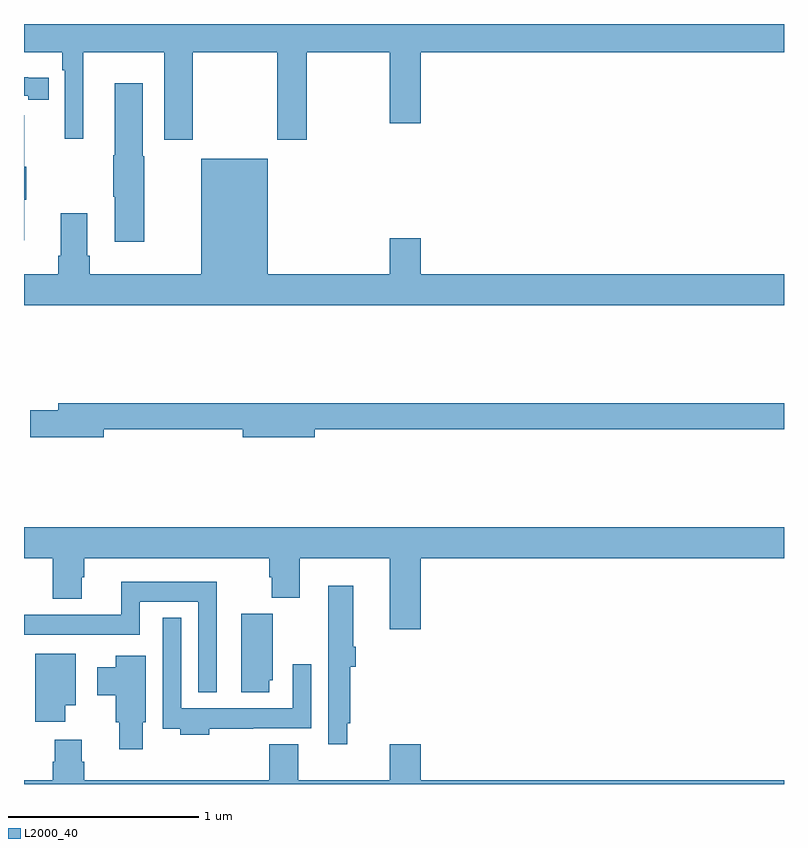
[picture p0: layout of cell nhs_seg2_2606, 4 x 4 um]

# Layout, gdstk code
import gdstk
lib = gdstk.Library(unit=1e-6, precision=1e-09)
def P(c, l, *ps):  # polygons
    for p in ps: c.add(gdstk.Polygon(p, *l))
L2000_40 = (2000, 40)

nhs_seg2_2606 = lib.new_cell('nhs_seg2_2606')
P(nhs_seg2_2606, L2000_40, [(247.887,631.652),(248.332,631.652),(248.332,631.191),(248.487,631.191),(248.487,631.652),(248.924,631.652),(248.924,631.278),(249.088,631.278),(249.088,631.652),(251,631.652),(251,631.8),(247,631.8),(247,631.652),(247.202,631.652),(247.202,631.556),(247.215,631.556),(247.215,631.197),(247.312,631.197),(247.312,631.652),(247.739,631.652),(247.739,631.191),(247.887,631.191)],
  [(247.13,631.518),(247.022,631.518),(247.022,631.519),(247,631.519),(247,631.422),(247.022,631.422),(247.022,631.402),(247.13,631.402)],
  [(247.632,631.103),(247.624,631.103),(247.624,631.489),(247.478,631.489),(247.478,631.109),(247.471,631.109),(247.471,630.892),(247.478,630.892),(247.478,630.654),(247.632,630.654)],
  [(247.001,630.875),(247.012,630.875),(247.012,631.049),(247.001,631.049),(247.001,631.321),(247,631.321),(247,630.663),(247.001,630.663)],
  [(251,630.484),(249.088,630.484),(249.088,630.673),(248.924,630.673),(248.924,630.484),(248.284,630.484),(248.284,631.09),(247.934,631.09),(247.934,630.484),(247.346,630.484),(247.346,630.58),(247.333,630.58),(247.333,630.805),(247.193,630.805),(247.193,630.58),(247.181,630.58),(247.181,630.484),(247,630.484),(247,630.32),(251,630.32)],
  [(247.42,629.668),(248.15,629.668),(248.15,629.626),(248.53,629.626),(248.53,629.668),(251,629.668),(251,629.804),(247.181,629.804),(247.181,629.768),(247.032,629.768),(247.032,629.626),(247.42,629.626)],
  [(249.088,628.988),(251,628.988),(251,629.152),(247,629.152),(247,628.988),(247.151,628.988),(247.151,628.775),(247.303,628.775),(247.303,628.887),(247.316,628.887),(247.316,628.988),(248.291,628.988),(248.291,628.889),(248.303,628.889),(248.303,628.78),(248.451,628.78),(248.451,628.988),(248.924,628.988),(248.924,628.614),(249.088,628.614)],
  [(248.014,628.864),(247.511,628.864),(247.511,628.69),(247,628.69),(247,628.586),(247.608,628.586),(247.608,628.76),(247.917,628.76),(247.917,628.283),(248.014,628.283)],
  [(248.7,628.12),(248.717,628.12),(248.717,628.418),(248.747,628.418),(248.747,628.522),(248.734,628.522),(248.734,628.843),(248.6,628.843),(248.6,628.522),(248.601,628.522),(248.601,628.008),(248.7,628.008)],
  [(248.29,628.347),(248.308,628.347),(248.308,628.695),(248.144,628.695),(248.144,628.284),(248.29,628.284)],
  [(247.976,628.092),(248.207,628.092),(248.207,628.094),(248.511,628.094),(248.511,628.429),(248.415,628.429),(248.415,628.198),(247.827,628.198),(247.827,628.675),(247.731,628.675),(247.731,628.092),(247.823,628.092),(247.823,628.058),(247.976,628.058)],
  [(247.216,628.214),(247.273,628.214),(247.273,628.486),(247.058,628.486),(247.058,628.128),(247.216,628.128)],
  [(247.624,628.125),(247.642,628.125),(247.642,628.474),(247.484,628.474),(247.484,628.414),(247.385,628.414),(247.385,628.267),(247.484,628.267),(247.484,628.125),(247.502,628.125),(247.502,627.984),(247.624,627.984)],
  [(251,627.82),(249.088,627.82),(249.088,628.009),(248.924,628.009),(248.924,627.82),(248.443,627.82),(248.443,628.009),(248.291,628.009),(248.291,627.82),(247.316,627.82),(247.316,627.918),(247.303,627.918),(247.303,628.033),(247.163,628.033),(247.163,627.918),(247.151,627.918),(247.151,627.82),(247,627.82),(247,627.8),(251,627.8)])

lib.write_gds('nhs_seg2_2606.gds')
